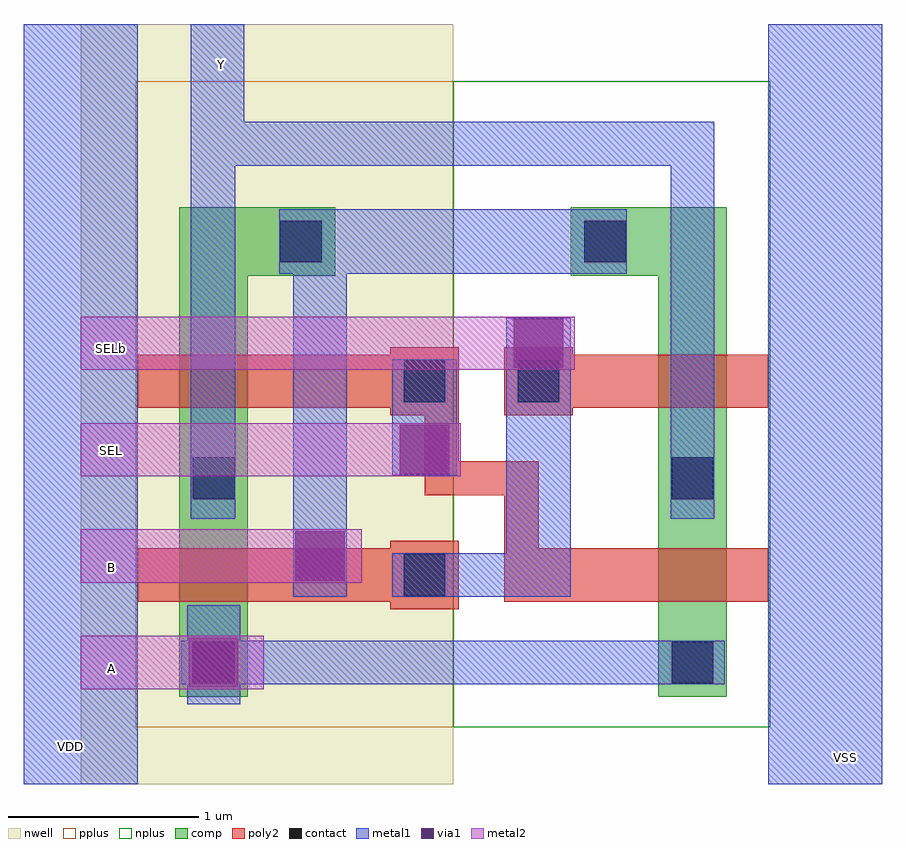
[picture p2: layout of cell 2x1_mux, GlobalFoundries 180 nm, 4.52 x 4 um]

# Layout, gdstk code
import gdstk
lib = gdstk.Library(unit=1e-6, precision=5e-09)
def R(c, l, rs):  # rectangles x0, y0, x1, y1
    for r in rs: c.add(gdstk.rectangle(r[:2], r[2:], *l))
nwell = (21, 0)
comp = (22, 0)
poly2 = (30, 0)
pplus = (31, 0)
nplus = (32, 0)
contact = (33, 0)
metal1 = (34, 0)
via1 = (35, 0)
metal2 = (36, 0)

c_2x1_mux = lib.new_cell('2x1_mux')
R(c_2x1_mux, nwell, [(-6.425,-2.01,-4.465,1.99)])
R(c_2x1_mux, comp, [(-5.905,-1.55,-5.545,1.025), (-3.385,-1.55,-3.025,1.025), (-5.545,0.665,-5.085,1.025), (-3.845,0.665,-3.385,1.025)])
R(c_2x1_mux, poly2, [(-4.795,-1.09,-4.435,-0.73), (-6.125,-1.05,-4.795,-0.77), (-4.195,-1.05,-2.805,-0.77), (-4.195,-0.77,-4.015,-0.49), (-4.615,-0.49,-4.015,-0.31), (-4.615,-0.31,-4.435,-0.07), (-4.795,-0.07,-4.435,0.29), (-4.195,-0.07,-3.835,0.29), (-6.125,-0.03,-4.795,0.25), (-3.835,-0.03,-2.805,0.25)])
R(c_2x1_mux, pplus, [(-6.135,-1.71,-4.465,1.69)])
R(c_2x1_mux, nplus, [(-4.465,-1.71,-2.795,1.69)])
R(c_2x1_mux, contact, [(-5.835,-1.48,-5.615,-1.26), (-3.315,-1.48,-3.095,-1.26), (-4.725,-1.02,-4.505,-0.8), (-5.835,-0.51,-5.615,-0.29), (-3.315,-0.51,-3.095,-0.29), (-4.725,0,-4.505,0.22), (-4.125,0,-3.905,0.22), (-5.375,0.735,-5.155,0.955), (-3.775,0.735,-3.555,0.955)])
R(c_2x1_mux, metal1, [(-6.725,-2.01,-6.125,1.99), (-2.805,-2.01,-2.205,1.99), (-5.865,-1.59,-5.585,-1.07), (-5.895,-1.485,-3.035,-1.255), (-5.305,-1.025,-5.025,0.675), (-4.785,-1.025,-3.845,-0.795), (-4.185,-0.795,-3.845,0.445), (-5.845,-0.615,-5.61,1.475), (-3.32,-0.615,-3.09,1.475), (-4.785,-0.385,-4.445,0.225), (-5.38,0.675,-3.55,1.015), (-5.61,1.245,-3.32,1.475), (-5.845,1.475,-5.565,1.99)])
R(c_2x1_mux, via1, [(-5.855,-1.5,-5.595,-1.24), (-5.295,-0.94,-5.035,-0.68), (-4.745,-0.38,-4.485,-0.12), (-4.145,0.18,-3.885,0.44)])
R(c_2x1_mux, metal2, [(-6.425,-1.51,-5.46,-1.23), (-6.425,-0.95,-4.945,-0.67), (-6.425,-0.39,-4.425,-0.11), (-6.425,0.17,-3.825,0.45)])
c_2x1_mux.add(gdstk.Label('VDD', (-6.48,-1.815), layer=34, texttype=10))
c_2x1_mux.add(gdstk.Label('VSS', (-2.4,-1.87), layer=34, texttype=10))
c_2x1_mux.add(gdstk.Label('Y', (-5.685,1.775), layer=34, texttype=10))
c_2x1_mux.add(gdstk.Label('A', (-6.26,-1.4), layer=36, texttype=10))
c_2x1_mux.add(gdstk.Label('SEL', (-6.265,-0.255), layer=36, texttype=10))
c_2x1_mux.add(gdstk.Label('SELb', (-6.265,0.28), layer=36, texttype=10))
c_2x1_mux.add(gdstk.Label('B', (-6.26,-0.87), layer=36, texttype=10))

lib.write_gds('2x1_mux.gds')
